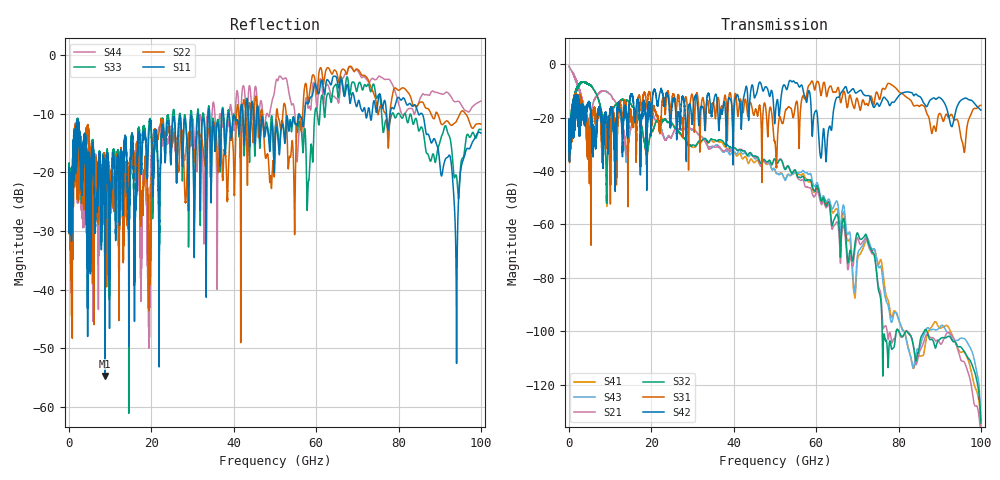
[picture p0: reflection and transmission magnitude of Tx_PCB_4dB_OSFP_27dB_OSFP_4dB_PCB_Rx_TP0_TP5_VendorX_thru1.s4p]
! Info: Touchstone file created by Circ.  Input file=Tx_PCB_4dB_OSFP_27dB_OSFP_4dB_PCB_Rx_TP0_TP5_VendorX.circ
# Hz S RI R 50
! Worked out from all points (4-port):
!   10000 points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, 10 MHz to 100 GHz, reference 50 ohm
!   strongest paths, dB at 10 MHz, 25.01 GHz, 50.01 GHz, 75.01 GHz, 100 GHz:
!     S42: -22.6, -15.9, -20.6, -14.9, -17.2
!     S31: -22.6, -12.5, -29.4, -11.4, -15.4
!     S32: -34.6, -22.1, -35.6, -83.4, -134.3
!     S21: -0.7, -26.6, -35.6, -82.3, -138.0
!     S43: -0.8, -26.9, -39.6, -75.6, -133.3
!     S41: -34.6, -22.2, -39.6, -74.7, -135.3
!   lowest |S11| = -54.8 dB at 8.78 GHz (marker M1), VSWR 1.00, Z = 49.9 - j0.162 ohm
!   |S11| at or under -10 dB: start of sweep to 31.27 GHz; 46.01 GHz to 55.82 GHz (9.81 GHz wide, 19.3 % of centre); 85.75 GHz to end of sweep (the widest 3 of 18)
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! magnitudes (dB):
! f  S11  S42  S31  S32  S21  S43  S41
! 10 MHz  -19.9  -22.6  -22.6  -34.6  -0.7  -0.8  -34.6
! 3.7 GHz  -16.4  -21.7  -19.7  -6.6  -17.8  -18.0  -6.6
! 8.78 GHz  -54.8  -18.7  -21.8  -30.0  -10.0  -10.0  -29.9
! 56.7 GHz  -11.6  -8.7  -11.9  -41.9  -43.2  -39.9  -41.0
! 61.11 GHz  -4.5  -34.9  -11.6  -50.8  -52.0  -49.8  -51.1
! 69.28 GHz  -7.4  -10.0  -16.6  -68.9  -71.3  -83.8  -86.3
! 100 GHz  -13.3  -17.2  -15.4  -134.3  -138.0  -133.3  -135.3
